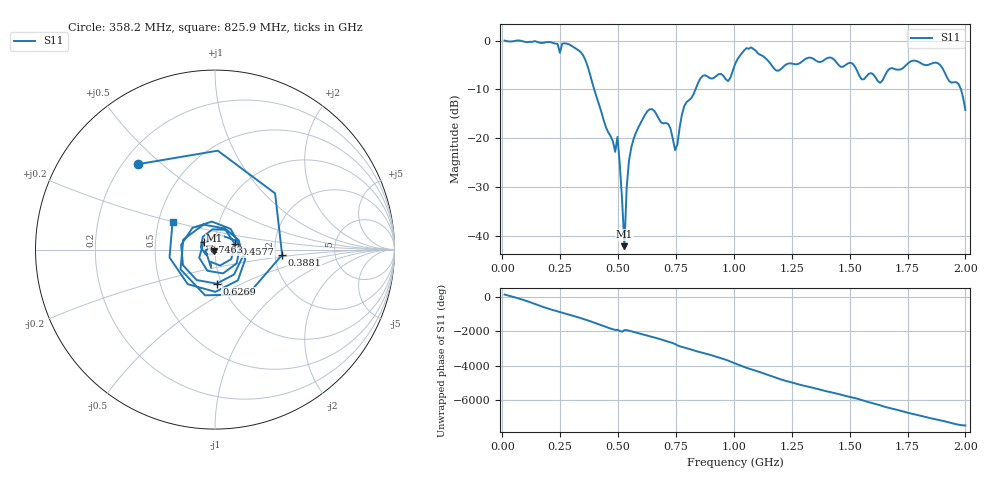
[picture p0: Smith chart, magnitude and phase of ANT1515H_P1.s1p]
!Created with skrf (http://scikit-rf.org).
# Hz S RI R 50.0
!freq ReS11 ImS11
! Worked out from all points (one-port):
!   201 points, 10 MHz to 2 GHz, reference 50 ohm
!   lowest |S11| = -42.2 dB at 527.4 MHz (marker M1), VSWR 1.02, Z = 49.6 - j0.656 ohm
!   |S11| at or under -10 dB: 397 MHz to 834.2 MHz (437.1 MHz wide, 71 % of centre); 1.981 GHz to end of sweep
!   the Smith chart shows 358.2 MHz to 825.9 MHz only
!   S11 on the Smith chart (normalised r, x): 358.2 MHz: 0.26, +0.42; 388.1 MHz: 2.19, -0.15; 457.8 MHz: 1.24, +0.08; 626.9 MHz: 0.95, -0.37; 746.3 MHz: 0.88, +0.07; 825.9 MHz: 0.59, +0.20
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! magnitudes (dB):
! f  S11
! 10 MHz  0.0
! 258.8 MHz  -0.6
! 358.2 MHz  -3.9
! 388.1 MHz  -8.5
! 457.8 MHz  -18.8
! 487.6 MHz  -22.8
! 497.6 MHz  -19.7
! 507.5 MHz  -25.5
! 527.4 MHz  -42.2
! 537.4 MHz  -30.0
! 547.3 MHz  -24.6
! 626.9 MHz  -14.4
! 716.5 MHz  -17.1
! 746.3 MHz  -22.4
! 756.2 MHz  -21.3
! 786.1 MHz  -13.4
! 825.9 MHz  -11.0
! 975.1 MHz  -8.3
! 1.005 GHz  -4.8
! 1.075 GHz  -1.4
! 1.184 GHz  -6.1
! 1.254 GHz  -4.7
! 1.502 GHz  -4.5
! 1.632 GHz  -8.6
! 1.751 GHz  -4.7
! 1.891 GHz  -4.9
! 1.97 GHz  -8.8
! 2 GHz  -14.2
